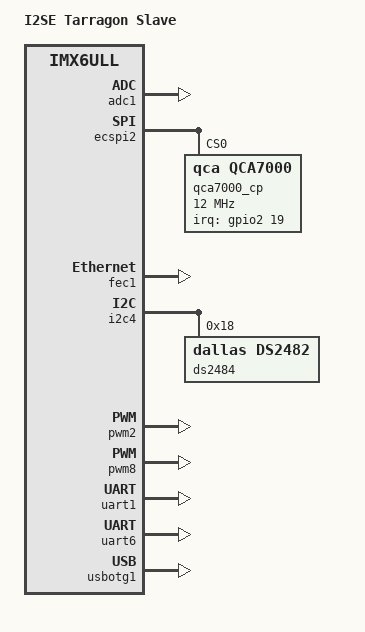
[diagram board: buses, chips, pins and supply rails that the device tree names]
/*
 * Copyright (C) 2018 I2SE GmbH
 * Copyright (C) 2020 in-tech smart charging GmbH
 *
 * This program is free software; you can redistribute it and/or modify
 * it under the terms of the GNU General Public License version 2 as
 * published by the Free Software Foundation.
 */

#include "imx6ull-tarragon-common.dtsi"
#include "imx6ull-tarragon-pmic.dtsi"

/ {
	model = "I2SE Tarragon Slave";
	compatible = "fsl,imx6ull-tarragon", "fsl,imx6ull";
};

&adc1 {
	status = "okay";
};

&ecspi2 {
	status = "okay";

	qca7000_cp: ethernet@0 {
		reg = <0x0>;
		compatible = "qca,qca7000";
		pinctrl-names = "default";
		pinctrl-0 = <&pinctrl_qca7000_cp_int &pinctrl_qca7000_cp_rst &pinctrl_qca7000_cp_btld>;
		interrupt-parent = <&gpio2>;
		interrupts = <19 IRQ_TYPE_EDGE_RISING>;
		spi-cpha;
		spi-cpol;
		spi-max-frequency = <12000000>;
	};
};

&fec1 {
	status = "okay";
};

&i2c4 {
	ds2484@18 {
		compatible = "dallas,ds2482";
		reg = <0x18>;
	};
};

&iomuxc {
	pinctrl-0 = <&pinctrl_hog_pins
	             &pinctrl_gpio_motor
	             &pinctrl_push_pull_cfg
	             &pinctrl_dig_in>;
};

&pwm2 {
	status = "okay";
};

&pwm8 {
	status = "okay";
};

&uart1 {
	status = "okay";
};

&uart6 {
	status = "okay";
};

&usbotg1 {
	status = "okay";
};
